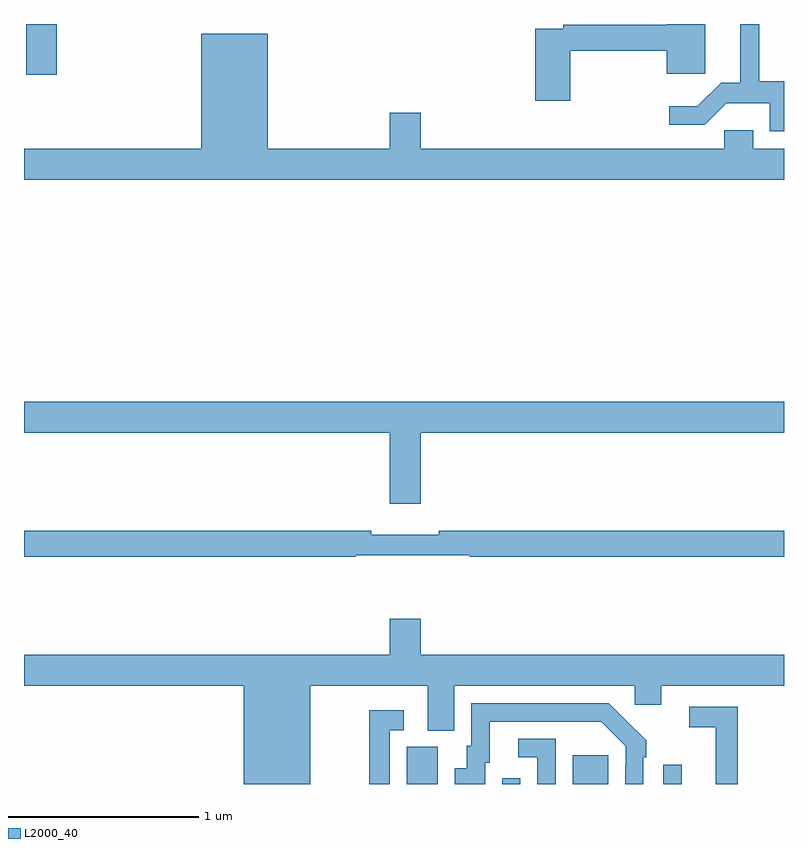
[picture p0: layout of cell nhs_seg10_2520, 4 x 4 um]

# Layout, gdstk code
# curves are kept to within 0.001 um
import gdstk
lib = gdstk.Library(unit=1e-6, precision=1e-09)
def R(c, l, rs):  # rectangles x0, y0, x1, y1
    for r in rs: c.add(gdstk.rectangle(r[:2], r[2:], *l))
def P(c, l, *ps):  # polygons
    for p in ps: c.add(gdstk.Polygon(p, *l))
L2000_40 = (2000, 40)

nhs_seg10_2520 = lib.new_cell('nhs_seg10_2520')
R(nhs_seg10_2520, L2000_40, [(249.014,1266.5,249.178,1266.696), (249.516,1266.5,249.612,1266.529), (249.887,1266.5,250.075,1266.652), (250.365,1266.5,250.461,1266.601), (247.012,1270.233,247.172,1270.5)])
P(nhs_seg10_2520, L2000_40, [(251,1270.199),(250.871,1270.199),(250.871,1270.5),(250.769,1270.5),(250.769,1270.192),(250.669,1270.192),(250.543,1270.066),(250.395,1270.066),(250.395,1269.969),(250.584,1269.969),(250.697,1270.082),(250.926,1270.082),(250.926,1269.936),(251,1269.936)],
  [(249.875,1270.36),(250.382,1270.36),(250.382,1270.239),(250.585,1270.239),(250.585,1270.5),(250.382,1270.5),(250.382,1270.496),(249.838,1270.496),(249.838,1270.476),(249.692,1270.476),(249.692,1270.095),(249.875,1270.095)],
  [(251,1269.844),(250.837,1269.844),(250.837,1269.942),(250.686,1269.942),(250.686,1269.844),(249.088,1269.844),(249.088,1270.033),(248.924,1270.033),(248.924,1269.844),(248.284,1269.844),(248.284,1270.45),(247.934,1270.45),(247.934,1269.844),(247,1269.844),(247,1269.68),(251,1269.68)],
  [(249.088,1268.348),(251,1268.348),(251,1268.512),(247,1268.512),(247,1268.348),(248.924,1268.348),(248.924,1267.974),(249.088,1267.974)],
  [(248.745,1267.704),(249.345,1267.704),(249.345,1267.696),(251,1267.696),(251,1267.832),(249.184,1267.832),(249.184,1267.813),(248.828,1267.813),(248.828,1267.832),(247,1267.832),(247,1267.696),(248.745,1267.696)],
  [(248.506,1267.016),(249.125,1267.016),(249.125,1266.781),(249.265,1266.781),(249.265,1267.016),(250.215,1267.016),(250.215,1266.918),(250.354,1266.918),(250.354,1267.016),(251,1267.016),(251,1267.18),(249.088,1267.18),(249.088,1267.369),(248.924,1267.369),(248.924,1267.18),(247,1267.18),(247,1267.016),(248.156,1267.016),(248.156,1266.5),(248.506,1266.5)],
  [(249.427,1266.612),(249.451,1266.612),(249.451,1266.828),(250.039,1266.828),(250.167,1266.699),(250.167,1266.599),(250.164,1266.599),(250.164,1266.5),(250.26,1266.5),(250.26,1266.641),(250.275,1266.641),(250.275,1266.729),(250.078,1266.924),(249.354,1266.924),(249.354,1266.702),(249.329,1266.702),(249.329,1266.583),(249.266,1266.583),(249.266,1266.5),(249.427,1266.5)],
  [(250.757,1266.906),(250.5,1266.906),(250.5,1266.798),(250.64,1266.798),(250.64,1266.5),(250.757,1266.5)],
  [(248.925,1266.783),(248.998,1266.783),(248.998,1266.889),(248.817,1266.889),(248.817,1266.5),(248.925,1266.5)],
  [(249.798,1266.738),(249.6,1266.738),(249.6,1266.642),(249.702,1266.642),(249.702,1266.5),(249.798,1266.5)])

lib.write_gds('nhs_seg10_2520.gds')
